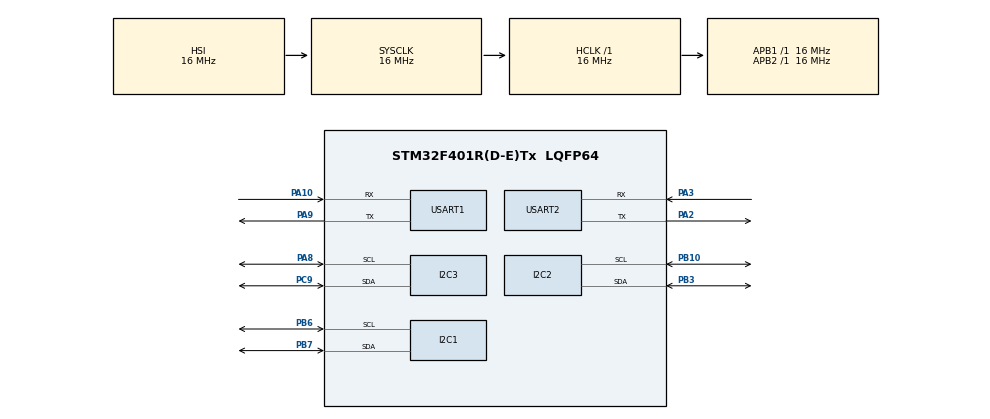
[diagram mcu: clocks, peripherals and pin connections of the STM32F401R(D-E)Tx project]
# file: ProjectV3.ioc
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FREERTOS.BinarySemaphores01=myBinarySem01,Dynamic,NULL,Available;myBinarySem02,Dynamic,NULL,Available
FREERTOS.Queues01=myQueue01,5,uint8_t,0,Dynamic,NULL,NULL;myQueue02,5,uint8_t,0,Dynamic,NULL,NULL;myQueue03,16,uint16_t,0,Dynamic,NULL,NULL;myQueue04,16,uint16_t,0,Dynamic,NULL,NULL
FREERTOS.Tasks01=MeasureTemp,24,512,StartDefaultTask,Default,NULL,Dynamic,NULL,NULL;Realtime,8,256,StartTask02,Default,NULL,Dynamic,NULL,NULL;DisplayTemp,32,256,StartTask03,Default,NULL,Dynamic,NULL,NULL;DisplayTime,16,256,StartTask04,Default,NULL,Dynamic,NULL,NULL;myTask05,8,256,StartTask05,Default,NULL,Dynamic,NULL,NULL;myTask06,8,512,StartTask06,Default,NULL,Dynamic,NULL,NULL;myTask07,48,512,StartTask07,Default,NULL,Dynamic,NULL,NULL
Mcu.Family=STM32F4
Mcu.Name=STM32F401R(D-E)Tx
Mcu.Package=LQFP64
NVIC.PriorityGroup=NVIC_PRIORITYGROUP_4
NVIC.USART1_IRQn=true\:5\:0\:false\:false\:true\:true\:true\:true\:true
NVIC.USART2_IRQn=true\:5\:0\:false\:false\:true\:true\:true\:true\:true
PA10.Mode=Asynchronous
PA10.Signal=USART1_RX
PA13.Mode=Serial_Wire
PA13.Signal=SYS_JTMS-SWDIO
PA14.Mode=Serial_Wire
PA14.Signal=SYS_JTCK-SWCLK
PA2.Mode=Asynchronous
PA2.Signal=USART2_TX
PA3.Mode=Asynchronous
PA3.Signal=USART2_RX
PA8.Mode=I2C
PA8.Signal=I2C3_SCL
PA9.Mode=Asynchronous
PA9.Signal=USART1_TX
PB10.Mode=I2C
PB10.Signal=I2C2_SCL
PB3.Mode=I2C
PB3.Signal=I2C2_SDA
PB6.Mode=I2C
PB6.Signal=I2C1_SCL
PB7.Mode=I2C
PB7.Signal=I2C1_SDA
PC9.Mode=I2C
PC9.Signal=I2C3_SDA
PH0\ -\ OSC_IN.Mode=HSE-External-Oscillator
PH0\ -\ OSC_IN.Signal=RCC_OSC_IN
PH1\ -\ OSC_OUT.Mode=HSE-External-Oscillator
PH1\ -\ OSC_OUT.Signal=RCC_OSC_OUT
ProjectManager.HeapSize=0x200
ProjectManager.StackSize=0x400
ProjectManager.TargetToolchain=STM32CubeIDE
RCC.AHBFreq_Value=16000000
RCC.APB1Freq_Value=16000000
RCC.APB2Freq_Value=16000000
RCC.CortexFreq_Value=16000000
RCC.HSE_VALUE=25000000
RCC.HSI_VALUE=16000000
RCC.LSE_VALUE=32768
RCC.SYSCLKFreq_VALUE=16000000
RCC.VCOOutputFreq_Value=192000000
USART1.VirtualMode=VM_ASYNC
USART2.VirtualMode=VM_ASYNC
VP_FREERTOS_VS_CMSIS_V2.Mode=CMSIS_V2
board=custom

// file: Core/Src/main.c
/* USER CODE BEGIN Header */
/**
  ******************************************************************************
  * @file           : main.c
  * @brief          : Main program body
  ******************************************************************************
  * @attention
  *
  * Copyright (c) 2025 STMicroelectronics.
  * All rights reserved.
  *
  * This software is licensed under terms that can be found in the LICENSE file
  * in the root directory of this software component.
  * If no LICENSE file comes with this software, it is provided AS-IS.
  *
  ******************************************************************************
  */
/* USER CODE END Header */
#include "main.h"
#include "cmsis_os.h"

/* USER CODE BEGIN Includes */
#include "stdio.h"
#include "string.h"
#include "stdlib.h"
#include "math.h"

// The libraries for sensors: DS1307, LCD, SHT21
#include "sht2x_for_stm32_hal.h"
#include "i2c-lcd.h"
#include "I2C_DS3231.h"
#include "print_cli.h"
#include <stdbool.h>
#include <limits.h>

/* USER CODE END Includes */

I2C_HandleTypeDef hi2c1;
I2C_HandleTypeDef hi2c2;
I2C_HandleTypeDef hi2c3;

UART_HandleTypeDef huart1;
UART_HandleTypeDef huart2;

/* Definitions for MeasureTemp */
osThreadId_t MeasureTempHandle;
const osThreadAttr_t MeasureTemp_attributes = {
  .name = "MeasureTemp",
  .stack_size = 512 * 4,
  .priority = (osPriority_t) osPriorityNormal2,
};
/* Definitions for Realtime */
osThreadId_t RealtimeHandle;
const osThreadAttr_t Realtime_attributes = {
  .name = "Realtime",
  .stack_size = 256 * 4,
  .priority = (osPriority_t) osPriorityNormal5,
};
/* Definitions for DisplayTemp */
osThreadId_t DisplayTempHandle;
const osThreadAttr_t DisplayTemp_attributes = {
  .name = "DisplayTemp",
  .stack_size = 256 * 4,
  .priority = (osPriority_t) osPriorityNormal1,
};
/* Definitions for DisplayTime */
osThreadId_t DisplayTimeHandle;
const osThreadAttr_t DisplayTime_attributes = {
  .name = "DisplayTime",
  .stack_size = 256 * 4,
  .priority = (osPriority_t) osPriorityNormal4,
};
/* Definitions for myTask05 */
osThreadId_t myTask05Handle;
const osThreadAttr_t myTask05_attributes = {
  .name = "myTask05",
  .stack_size = 256 * 4,
  .priority = (osPriority_t) osPriorityNormal3,
};
/* Definitions for myTask06 */
osThreadId_t myTask06Handle;
const osThreadAttr_t myTask06_attributes = {
  .name = "myTask06",
  .stack_size = 512 * 4,
  .priority = (osPriority_t) osPriorityNormal,
};
/* Definitions for myTask07 */
osThreadId_t myTask07Handle;
const osThreadAttr_t myTask07_attributes = {
  .name = "myTask07",
  .stack_size = 512 * 4,
  .priority = (osPriority_t) osPriorityRealtime,
};
/* Definitions for myQueue01 */
osMessageQueueId_t myQueue01Handle;
const osMessageQueueAttr_t myQueue01_attributes = {
  .name = "myQueue01"
};
/* Definitions for myQueue02 */
osMessageQueueId_t myQueue02Handle;
const osMessageQueueAttr_t myQueue02_attributes = {
  .name = "myQueue02"
};
/* Definitions for myQueue03 */
osMessageQueueId_t myQueue03Handle;
const osMessageQueueAttr_t myQueue03_attributes = {
  .name = "myQueue03"
};
/* Definitions for myQueue04 */
osMessageQueueId_t myQueue04Handle;
const osMessageQueueAttr_t myQueue04_attributes = {
  .name = "myQueue04"
};
/* Definitions for myBinarySem01 */
osSemaphoreId_t myBinarySem01Handle;
const osSemaphoreAttr_t myBinarySem01_attributes = {
  .name = "myBinarySem01"
};
/* Definitions for myBinarySem02 */
osSemaphoreId_t myBinarySem02Handle;
const osSemaphoreAttr_t myBinarySem02_attributes = {
  .name = "myBinarySem02"
};
/* USER CODE BEGIN PV */
// DS1307, Step 1:
DateTime date_time;
// Task deadlines
TickType_t taskReadTempDeadline;
TickType_t taskReadTimeDeadline;
TickType_t taskDisplayTempDeadline;
TickType_t taskDisplayTimeDeadline;
TickType_t taskReadRhDeadline;
TickType_t taskDisplayRhDeadline;
typedef struct{
	int id;
	int period;
	int execTime;
	int deadline;
	int priotity;
	int allPeriod;
	float wcet;
	bool changed;
} Task;
Task tasks[6] = {
        {0, 2250, 50, 100, 5, 10, 0.0, false},  // Task 1
        {1, 900, 4, 200, 11, 10, 0.0, false}, // Task 2
        {2, 3000, 4, 300, 17, 10, 0.0, false}, // Task 3
        {3, 1000, 4, 400, 23, 10, 0.0, false}, // Task 4
        {4, 1800, 50, 500, 29, 10, 0.0, false}, // Task 5
        {5, 4500, 4, 600, 35, 10, 0.0, false}  // Task 6
    };
Task prev_tasks[6] = {
        {0, 2250, 50, 100, 5, 10, 0.0, false},  // Task 1
        {1, 900, 4, 200, 11, 10, 0.0, false}, // Task 2
        {2, 3000, 4, 300, 17, 10, 0.0, false}, // Task 3
        {3, 1000, 4, 400, 23, 10, 0.0, false}, // Task 4
        {4, 1800, 50, 500, 29, 10, 0.0, false}, // Task 5
        {5, 4500, 4, 600, 35, 10, 0.0, false}  // Task 6
    };
#define MAX_STRING_SIZE 20

#define RX_BUFFER_SIZE 30
uint8_t rx_buffer[RX_BUFFER_SIZE];
char rx_byte;
uint16_t rx_index = 0;
typedef struct {
    char task[MAX_STRING_SIZE];  // Trường chứa chuỗi "task1"
    int values[5];               // Mảng chứa 5 số nguyên
} TaskData;
/* USER CODE END PV */

void SystemClock_Config(void);
static void MX_GPIO_Init(void);
static void MX_I2C1_Init(void);
static void MX_I2C2_Init(void);
static void MX_I2C3_Init(void);
static void MX_USART2_UART_Init(void);
static void MX_USART1_UART_Init(void);
void StartDefaultTask(void *argument);
void StartTask02(void *argument);
void StartTask03(void *argument);
void StartTask04(void *argument);
void StartTask05(void *argument);
void StartTask06(void *argument);
void StartTask07(void *argument);

/* USER CODE BEGIN PFP */
// Hàm phát hiện thay đổi
bool detectChange(Task *current, Task *previous);
void updatePrevious(Task *previous, Task *current);

void update_task_priorities(Task *tasks, int num_tasks);
/* USER CODE END PFP */

int main(void)
{

  /* MCU Configuration--------------------------------------------------------*/

  /* Reset of all peripherals, Initializes the Flash interface and the Systick. */
  HAL_Init();

  /* Configure the system clock */
  SystemClock_Config();

  /* Initialize all configured peripherals */
  MX_GPIO_Init();
  MX_I2C1_Init();
  MX_I2C2_Init();
  MX_I2C3_Init();
  MX_USART2_UART_Init();
  MX_USART1_UART_Init();
  /* USER CODE BEGIN 2 */
  //Init SHT21, set resolution
  SHT2x_Init(&hi2c1);
  SHT2x_SetResolution(RES_14_12);
  print_cli("Inited SHT21 successfully\n");

  //Init LCD, set start time
  rtc_init(&hi2c3);
  date_time.date = 24;
  date_time.day = 5;
  date_time.hour = 17;
  date_time.i2c = 02;
  date_time.min = 45;
  date_time.mon = 1;
  date_time.sec = 12;
  date_time.year = 25;
  rtc_write_time(&date_time);

  //Init lcd
  lcd_init();

  HAL_UART_Receive_IT(&huart1, &rx_byte, 1);
  /* USER CODE END 2 */

  /* Init scheduler */
  osKernelInitialize();

  /* Create the semaphores(s) */
  /* creation of myBinarySem01 */
  myBinarySem01Handle = osSemaphoreNew(1, 1, &myBinarySem01_attributes);

  /* creation of myBinarySem02 */
  myBinarySem02Handle = osSemaphoreNew(1, 1, &myBinarySem02_attributes);

  /* Create the queue(s) */
  /* creation of myQueue01 */
  myQueue01Handle = osMessageQueueNew (5, sizeof(float), &myQueue01_attributes);

  /* creation of myQueue02 */
  myQueue02Handle = osMessageQueueNew (5, sizeof(DateTime), &myQueue02_attributes);

  /* creation of myQueue03 */
  myQueue03Handle = osMessageQueueNew (16, sizeof(float), &myQueue03_attributes);

  /* creation of myQueue04 */
  myQueue04Handle = osMessageQueueNew (16, sizeof(uint8_t) * 15, &myQueue04_attributes);

  /* Create the thread(s) */
  /* creation of MeasureTemp */
  MeasureTempHandle = osThreadNew(StartDefaultTask, NULL, &MeasureTemp_attributes);

  /* creation of Realtime */
  RealtimeHandle = osThreadNew(StartTask02, NULL, &Realtime_attributes);

  /* creation of DisplayTemp */
  DisplayTempHandle = osThreadNew(StartTask03, NULL, &DisplayTemp_attributes);

  /* creation of DisplayTime */
  DisplayTimeHandle = osThreadNew(StartTask04, NULL, &DisplayTime_attributes);

  /* creation of myTask05 */
  myTask05Handle = osThreadNew(StartTask05, NULL, &myTask05_attributes);

  /* creation of myTask06 */
  myTask06Handle = osThreadNew(StartTask06, NULL, &myTask06_attributes);

  /* creation of myTask07 */
  myTask07Handle = osThreadNew(StartTask07, NULL, &myTask07_attributes);

  /* Start scheduler */
  osKernelStart();

  /* We should never get here as control is now taken by the scheduler */

  /* Infinite loop */
  while (1)
  {

  }
}

void SystemClock_Config(void)
{
  RCC_OscInitTypeDef RCC_OscInitStruct = {0};
  RCC_ClkInitTypeDef RCC_ClkInitStruct = {0};

  /** Configure the main internal regulator output voltage
  */
  __HAL_RCC_PWR_CLK_ENABLE();
  __HAL_PWR_VOLTAGESCALING_CONFIG(PWR_REGULATOR_VOLTAGE_SCALE2);

  /** Initializes the RCC Oscillators according to the specified parameters
  * in the RCC_OscInitTypeDef structure.
  */
  RCC_OscInitStruct.OscillatorType = RCC_OSCILLATORTYPE_HSI;
  RCC_OscInitStruct.HSIState = RCC_HSI_ON;
  RCC_OscInitStruct.HSICalibrationValue = RCC_HSICALIBRATION_DEFAULT;
  RCC_OscInitStruct.PLL.PLLState = RCC_PLL_NONE;
  if (HAL_RCC_OscConfig(&RCC_OscInitStruct) != HAL_OK)
  {
    Error_Handler();
  }

  /** Initializes the CPU, AHB and APB buses clocks
  */
  RCC_ClkInitStruct.ClockType = RCC_CLOCKTYPE_HCLK|RCC_CLOCKTYPE_SYSCLK
                              |RCC_CLOCKTYPE_PCLK1|RCC_CLOCKTYPE_PCLK2;
  RCC_ClkInitStruct.SYSCLKSource = RCC_SYSCLKSOURCE_HSI;
  RCC_ClkInitStruct.AHBCLKDivider = RCC_SYSCLK_DIV1;
  RCC_ClkInitStruct.APB1CLKDivider = RCC_HCLK_DIV1;
  RCC_ClkInitStruct.APB2CLKDivider = RCC_HCLK_DIV1;

  if (HAL_RCC_ClockConfig(&RCC_ClkInitStruct, FLASH_LATENCY_0) != HAL_OK)
  {
    Error_Handler();
  }
}

static void MX_I2C1_Init(void)
{

  hi2c1.Instance = I2C1;
  hi2c1.Init.ClockSpeed = 100000;
  hi2c1.Init.DutyCycle = I2C_DUTYCYCLE_2;
  hi2c1.Init.OwnAddress1 = 0;
  hi2c1.Init.AddressingMode = I2C_ADDRESSINGMODE_7BIT;
  hi2c1.Init.DualAddressMode = I2C_DUALADDRESS_DISABLE;
  hi2c1.Init.OwnAddress2 = 0;
  hi2c1.Init.GeneralCallMode = I2C_GENERALCALL_DISABLE;
  hi2c1.Init.NoStretchMode = I2C_NOSTRETCH_DISABLE;
  if (HAL_I2C_Init(&hi2c1) != HAL_OK)
  {
    Error_Handler();
  }

}

static void MX_I2C2_Init(void)
{

  hi2c2.Instance = I2C2;
  hi2c2.Init.ClockSpeed = 100000;
  hi2c2.Init.DutyCycle = I2C_DUTYCYCLE_2;
  hi2c2.Init.OwnAddress1 = 0;
  hi2c2.Init.AddressingMode = I2C_ADDRESSINGMODE_7BIT;
  hi2c2.Init.DualAddressMode = I2C_DUALADDRESS_DISABLE;
  hi2c2.Init.OwnAddress2 = 0;
  hi2c2.Init.GeneralCallMode = I2C_GENERALCALL_DISABLE;
  hi2c2.Init.NoStretchMode = I2C_NOSTRETCH_DISABLE;
  if (HAL_I2C_Init(&hi2c2) != HAL_OK)
  {
    Error_Handler();
  }

}

static void MX_I2C3_Init(void)
{

  hi2c3.Instance = I2C3;
  hi2c3.Init.ClockSpeed = 100000;
  hi2c3.Init.DutyCycle = I2C_DUTYCYCLE_2;
  hi2c3.Init.OwnAddress1 = 0;
  hi2c3.Init.AddressingMode = I2C_ADDRESSINGMODE_7BIT;
  hi2c3.Init.DualAddressMode = I2C_DUALADDRESS_DISABLE;
  hi2c3.Init.OwnAddress2 = 0;
  hi2c3.Init.GeneralCallMode = I2C_GENERALCALL_DISABLE;
  hi2c3.Init.NoStretchMode = I2C_NOSTRETCH_DISABLE;
  if (HAL_I2C_Init(&hi2c3) != HAL_OK)
  {
    Error_Handler();
  }

}

static void MX_USART1_UART_Init(void)
{

  huart1.Instance = USART1;
  huart1.Init.BaudRate = 115200;
  huart1.Init.WordLength = UART_WORDLENGTH_8B;
  huart1.Init.StopBits = UART_STOPBITS_1;
  huart1.Init.Parity = UART_PARITY_NONE;
  huart1.Init.Mode = UART_MODE_TX_RX;
  huart1.Init.HwFlowCtl = UART_HWCONTROL_NONE;
  huart1.Init.OverSampling = UART_OVERSAMPLING_16;
  if (HAL_UART_Init(&huart1) != HAL_OK)
  {
    Error_Handler();
  }

}

static void MX_USART2_UART_Init(void)
{

  huart2.Instance = USART2;
  huart2.Init.BaudRate = 115200;
  huart2.Init.WordLength = UART_WORDLENGTH_8B;
  huart2.Init.StopBits = UART_STOPBITS_1;
  huart2.Init.Parity = UART_PARITY_NONE;
  huart2.Init.Mode = UART_MODE_TX_RX;
  huart2.Init.HwFlowCtl = UART_HWCONTROL_NONE;
  huart2.Init.OverSampling = UART_OVERSAMPLING_16;
  if (HAL_UART_Init(&huart2) != HAL_OK)
  {
    Error_Handler();
  }

}

static void MX_GPIO_Init(void)
{

  /* GPIO Ports Clock Enable */
  __HAL_RCC_GPIOH_CLK_ENABLE();
  __HAL_RCC_GPIOA_CLK_ENABLE();
  __HAL_RCC_GPIOB_CLK_ENABLE();
  __HAL_RCC_GPIOC_CLK_ENABLE();

}

/* USER CODE BEGIN 4 */
void HAL_UART_RxCpltCallback(UART_HandleTypeDef *huart) {
    if (huart->Instance == USART1) {  // Thay USART1 bằng UART của bạn
        if (rx_byte == '\n') {       // Kiểm tra ký tự LF
            rx_buffer[rx_index] = '\0'; // Kết thúc chuỗi
            rx_index = 0;            // Reset index
			osMessageQueuePut(myQueue04Handle, &rx_buffer, 0U, 0U);
        }
         else {
            if (rx_index < RX_BUFFER_SIZE - 1) {
                rx_buffer[rx_index++] = rx_byte; // Lưu byte vào buffer
            }
        }
        // Nhận tiếp byte mới
        HAL_UART_Receive_IT(&huart1, &rx_byte, 1);
    }
}

// Hàm cập nhật mức ưu tiên dựa trên chu kỳ
void update_task_priorities(Task *tasks, int num_tasks) {
    int periods[num_tasks];

    for (int i = 0; i < num_tasks; i++) {
        periods[i] = tasks[i].period;
    }
    for (int i = 0; i < num_tasks; i++) {
        int priority = 0;

        for (int j = 0; j < num_tasks; j++) {
            if (tasks[i].period < tasks[j].period) {
                priority++;
            }
        }
        tasks[i].priotity = 29 - priority;  // Mức ưu tiên từ 29 giảm dần
    }
}

void updatePrevious(Task *previous, Task *current) {
    previous->period = current->period;
    previous->execTime = current->execTime;
    previous->deadline = current->deadline;
    previous->allPeriod = current->allPeriod;
    previous->priotity = current->priotity;
}
bool detectChange(Task *current, Task *previous){
    // So sánh từng trường
    if (current->period != previous->period ||
        current->execTime != previous->execTime ||
        current->deadline != previous->deadline ||
        current->priotity != previous->priotity ||
		current->allPeriod != previous->allPeriod) {
        current->changed = true; // Đánh dấu thay đổi
        return true;             // Có thay đổi
    }
    current->changed = false;    // Không có thay đổi
    return false;
}

/* USER CODE END 4 */

void StartDefaultTask(void *argument)
{
  /* USER CODE BEGIN 5 */
	//The parameters of task
	TickType_t lastWakeTime = osKernelGetTickCount();
	taskReadTempDeadline = lastWakeTime + pdMS_TO_TICKS(tasks[0].deadline);

	float temp;
	float timeInSeconds;
	//union FloatToBytes dataSend;
  /* Infinite loop */
  for(;;)
  {
  timeInSeconds = (float)osKernelGetTickCount() / configTICK_RATE_HZ;

  print_cli("The start time of get temperature task: %.3f\n", timeInSeconds);
  temp = SHT2x_GetTemperature(1);
  //Check deadline
  if (osKernelGetTickCount() > taskReadTempDeadline)
  {
	  print_cli("Task Read Temperature missed deadline\n");
  }
  if (detectChange(&tasks[0], &prev_tasks[0]))
	{
		if(tasks[0].deadline != prev_tasks[0].deadline)
		{
			taskReadTempDeadline += pdMS_TO_TICKS(tasks[0].period)
					- pdMS_TO_TICKS(prev_tasks[0].deadline) + pdMS_TO_TICKS(tasks[0].deadline);
			print_cli("TASK 01 WAS CHANGED DEADLINE\n");
		}
		if(tasks[0].priotity != prev_tasks[0].priotity)
		{
			osThreadSetPriority(MeasureTempHandle, tasks[0].priotity);
			print_cli("TASK 01 WAS CHANGED PRIORITY\n");
		}
		updatePrevious(&prev_tasks[0], &tasks[0]);
	 }else
	 {
		 taskReadTempDeadline += pdMS_TO_TICKS(tasks[0].period);
	 }

  timeInSeconds = (float)osKernelGetTickCount() / configTICK_RATE_HZ;
  print_cli("The end time of get temperature task: %.3f\n", timeInSeconds);
  osMessageQueuePut(myQueue01Handle, &temp, 0U, 0U);
  vTaskDelayUntil(&lastWakeTime, pdMS_TO_TICKS(tasks[0].period));
  }
  /* USER CODE END 5 */
}

void StartTask02(void *argument)
{
  /* USER CODE BEGIN StartTask02 */
	TickType_t lastWakeTime = osKernelGetTickCount();
	taskReadTimeDeadline = lastWakeTime + pdMS_TO_TICKS(tasks[1].deadline);
	DateTime dateTimeSend;
	float timeInSeconds;
  /* Infinite loop */
  for(;;)
  {
	timeInSeconds = (float)osKernelGetTickCount() / configTICK_RATE_HZ;
	print_cli("The start time of get real time task: %.3f\n", timeInSeconds);
	rtc_read_time(&dateTimeSend);

	//Check Deadline
	if (osKernelGetTickCount() > taskReadTimeDeadline)
	{
		print_cli("Task Read Time missed deadline\n");
	}
	if (detectChange(&tasks[1], &prev_tasks[1]))
	{
		// Cập nhật giá trị trước đó
		if(tasks[1].deadline != tasks[1].deadline)
		{
			taskReadTimeDeadline += pdMS_TO_TICKS(tasks[1].period)
							- pdMS_TO_TICKS(prev_tasks[1].deadline) + pdMS_TO_TICKS(tasks[1].deadline);
			print_cli("TASK 2 WAS CHANGED DEADLINE\n");
		}
		if(tasks[1].priotity != tasks[1].priotity)
		{
			osThreadSetPriority(RealtimeHandle, tasks[1].priotity);
			print_cli("TASK 2 WAS CHANGED PRIORITY\n");
		}
		updatePrevious(&prev_tasks[1], &tasks[1]);
	 }else
	 {
		 taskReadTimeDeadline += pdMS_TO_TICKS(tasks[1].period);
	 }
	timeInSeconds = (float)osKernelGetTickCount() / configTICK_RATE_HZ;
	print_cli("The end time of get real time task: %.3f\n", timeInSeconds);
	osMessageQueuePut(myQueue02Handle, &dateTimeSend, 0U, 0U);
	//Delay until next period
	vTaskDelayUntil(&lastWakeTime, pdMS_TO_TICKS(pdMS_TO_TICKS(tasks[1].period)));
  }
  /* USER CODE END StartTask02 */
}

void StartTask03(void *argument)
{
  /* USER CODE BEGIN StartTask03 */
	TickType_t lastWakeTime = osKernelGetTickCount();
	taskDisplayTempDeadline = lastWakeTime + pdMS_TO_TICKS(tasks[2].deadline);
	float tempRecv;
	char temStr[6];
	float timeInSeconds;
  /* Infinite loop */
  for(;;)
  {
	  osMessageQueueGet(myQueue01Handle, &tempRecv, NULL, osWaitForever);
	  timeInSeconds = (float)osKernelGetTickCount() / configTICK_RATE_HZ;
	  print_cli("The start time of display temperature over UART, LCD: %.3f\n", timeInSeconds);
	  sprintf(temStr, "T:%.3f", tempRecv);
	  print_cli("%s", temStr);
	  lcd_put_cur(0, 9);
	  lcd_send_string(&temStr);
	  print_cli("Temperature is: %.2f\n", tempRecv);
	  	// Check deadline
		if (xTaskGetTickCount() > taskDisplayTempDeadline) {
			print_cli("Task Display Temperature missed deadline\n");
		}
		if (detectChange(&tasks[2], &prev_tasks[2]))
		{
			if(tasks[2].deadline != prev_tasks[2].deadline)
			{
				taskDisplayTempDeadline += pdMS_TO_TICKS(tasks[2].period)
									- pdMS_TO_TICKS(prev_tasks[2].deadline) + pdMS_TO_TICKS(tasks[2].deadline);
				print_cli("TASK 3 WAS CHANGED DEADLINE\n");
			}
			if(tasks[2].priotity != prev_tasks[2].priotity)
			{
				osThreadSetPriority(DisplayTempHandle, tasks[2].priotity);
				print_cli("TASK 3 WAS CHANGED PRIOTIRY\n");
			}
			// Cập nhật giá trị trước đó
			updatePrevious(&prev_tasks[2], &tasks[2]);
		 }else
		 {
			 taskDisplayTempDeadline += pdMS_TO_TICKS(tasks[2].period);
		 }
		timeInSeconds = (float)osKernelGetTickCount() / configTICK_RATE_HZ;
		print_cli("The end time of display temperature over UART, LCD: %.3f\n", timeInSeconds);
		// Delay until next period
		vTaskDelayUntil(&lastWakeTime, pdMS_TO_TICKS(tasks[2].period));
  }
  /* USER CODE END StartTask03 */
}

void StartTask04(void *argument)
{
  /* USER CODE BEGIN StartTask04 */
	TickType_t lastWakeTime = osKernelGetTickCount();
	taskDisplayTimeDeadline = lastWakeTime + pdMS_TO_TICKS(tasks[3].deadline);
	DateTime dateTimeRecv;
	char timeStrTime[9];
	char timeStrDay[10];
	float timeInSeconds;
  /* Infinite loop */
  for(;;)
  {
	  osMessageQueueGet(myQueue02Handle, &dateTimeRecv, NULL, osWaitForever);
	  timeInSeconds = (float)osKernelGetTickCount() / configTICK_RATE_HZ;
	  print_cli("The start time of display real time over UART, LCD: %.3f\n", timeInSeconds);
	  sprintf(timeStrTime, "%02d:%02d:%02d", dateTimeRecv.hour, dateTimeRecv.min, dateTimeRecv.sec);
	  sprintf(timeStrDay, "%02d/%02d/20%02d", dateTimeRecv.date, dateTimeRecv.mon, dateTimeRecv.year);
	  lcd_put_cur(0, 0);
	  lcd_send_string(&timeStrTime);
	  print_cli("Current time: %s \nDay: %s\n", timeStrTime, timeStrDay);
	  lcd_put_cur(1, 0);
	  lcd_send_string(&timeStrDay);
	// Check deadline
	if (xTaskGetTickCount() > taskDisplayTimeDeadline) {
		print_cli("Task Display Time missed deadline\n");
	}
	if (detectChange(&tasks[3], &prev_tasks[3]))
	{
		if(tasks[3].deadline != prev_tasks[3].deadline)
		{
			taskDisplayTimeDeadline += pdMS_TO_TICKS(tasks[3].period)
							- pdMS_TO_TICKS(prev_tasks[3].deadline) + pdMS_TO_TICKS(tasks[3].deadline);
			print_cli("TASK 4 WAS CHANGED DEADLINE\n");
		}
		if(tasks[3].priotity != prev_tasks[3].priotity)
		{
			osThreadSetPriority(DisplayTimeHandle, tasks[3].priotity);
			print_cli("TASK 04 WAS CHANGED PRIORITY\n");
		}
		// Cập nhật giá trị trước đó
		updatePrevious(&prev_tasks[3], &tasks[3]);
	 }else
	 {
		 taskDisplayTimeDeadline += pdMS_TO_TICKS(tasks[3].period);
	 }
	timeInSeconds = (float)osKernelGetTickCount() / configTICK_RATE_HZ;
	print_cli("The end time of display real time over UART, LCD: %.3f\n", timeInSeconds);
	// Delay until next period
	vTaskDelayUntil(&lastWakeTime, pdMS_TO_TICKS(tasks[3].period));
  }
  /* USER CODE END StartTask04 */
}

void StartTask05(void *argument)
{
  /* USER CODE BEGIN StartTask05 */
	float rh;
	TickType_t lastWakeTime = osKernelGetTickCount();
	taskReadRhDeadline = lastWakeTime + pdMS_TO_TICKS(tasks[4].deadline);
	float timeInSeconds;
  /* Infinite loop */
  for(;;)
  {
	  timeInSeconds = (float)osKernelGetTickCount() / configTICK_RATE_HZ;
	  print_cli("The start time of get rh task: %.3f\n", timeInSeconds);
	  rh = SHT2x_GetRelativeHumidity(1);
	  if (osKernelGetTickCount() > taskReadRhDeadline)
		  {
			  print_cli("Task Read Temperature missed deadline\n");
		  }
	  if (detectChange(&tasks[4], &prev_tasks[4]))
	{
		  if(tasks[4].deadline != prev_tasks[4].deadline)
		  {
			  taskReadRhDeadline += pdMS_TO_TICKS(tasks[4].period)
			  				- pdMS_TO_TICKS(prev_tasks[4].deadline) + pdMS_TO_TICKS(tasks[4].deadline);
			  print_cli("TASK 05 WAS CHANGED DEADLINE\n");
		  }
		  if(tasks[4].priotity != prev_tasks[4].priotity)
		  {
			  osThreadSetPriority(myTask05Handle, tasks[4].priotity);
			  print_cli("TASK 05 WAS CHANGED PRIORITY\n");
		  }
		  updatePrevious(&prev_tasks[4], &tasks[4]);
	 }else
	 {
		 taskReadRhDeadline += pdMS_TO_TICKS(tasks[4].period);
	 }
	  timeInSeconds = (float)osKernelGetTickCount() / configTICK_RATE_HZ;
	  print_cli("The end time of get rh task: %.3f\n", timeInSeconds);
	  osMessageQueuePut(myQueue03Handle, &rh, 0U, 0U);
	  vTaskDelayUntil(&lastWakeTime, pdMS_TO_TICKS(tasks[4].period));
  }
  /* USER CODE END StartTask05 */
}

void StartTask06(void *argument)
{
  /* USER CODE BEGIN StartTask06 */
	TickType_t lastWakeTime = osKernelGetTickCount();
	taskDisplayRhDeadline = lastWakeTime + pdMS_TO_TICKS(tasks[5].deadline);
	float rhRecv;
	char rhStr[6];
	float timeInSeconds;
  /* Infinite loop */
  for(;;)
  {
	  osMessageQueueGet(myQueue03Handle, &rhRecv, NULL, osWaitForever);
	  timeInSeconds = (float)osKernelGetTickCount() / configTICK_RATE_HZ;
	  print_cli("The start time of display rh over UART, LCD: %.3f\n", timeInSeconds);
	  sprintf(rhStr, "r:%.1f", rhRecv);
	  print_cli("DO AM LA%s\n", rhStr);
	  lcd_put_cur(1, 10);
	  lcd_send_string(&rhStr);
	  // Check deadline
		if (xTaskGetTickCount() > taskDisplayRhDeadline) {
			print_cli("Task Display RH missed deadline\n");
		}
		if (detectChange(&tasks[5], &prev_tasks[5]))
		{
			if(tasks[5].deadline != prev_tasks[5].deadline)
			{
				taskDisplayRhDeadline += pdMS_TO_TICKS(tasks[5].period)
									- pdMS_TO_TICKS(prev_tasks[5].deadline) + pdMS_TO_TICKS(tasks[5].deadline);
				print_cli("TASK 06 WAS CHANGED DEADLINE\n");
			}
			if(tasks[5].priotity != prev_tasks[5].priotity)
			{
				osThreadSetPriority(myTask05Handle, tasks[5].priotity);
				print_cli("TASK 06 WAS CHANGED PRIORITY\n");
			}
			updatePrevious(&prev_tasks[5], &tasks[5]);
		 }else
		 {
			 taskDisplayRhDeadline += pdMS_TO_TICKS(tasks[5].period);
		 }

		timeInSeconds = (float)osKernelGetTickCount() / configTICK_RATE_HZ;
		print_cli("The end time of display rh over UART, LCD: %.3f\n", timeInSeconds);
		// Delay until next period
		vTaskDelayUntil(&lastWakeTime, pdMS_TO_TICKS(tasks[5].period));
  }
  /* USER CODE END StartTask06 */
}

void StartTask07(void *argument)
{
  /* USER CODE BEGIN StartTask07 */
	 uint8_t Recv_ISR[20];
	TaskData taskData;
	int size;
	char m;
	int fieldRecv[12] = {0};
	int field[6] = {0};
	int idx;
	/* Infinite loop */
  for(;;)
  {
	osMessageQueueGet(myQueue04Handle, &Recv_ISR, NULL, osWaitForever);
	print_cli("Nhan tu ngat yeu cau thay doi thong so lap lich\n");
	    for (int i = 0; i < 12; i++) {
	        fieldRecv[i] = Recv_ISR[i] - '0';
	    }
	    for (int j = 0; j < 6; j++) {
	        field[j] = fieldRecv[2 * j] * 10 + fieldRecv[2 * j + 1];
	    }
	idx = field[0];
	print_cli("TASK %d\n", field[0] + 1);
	print_cli("Period is %d\n", field[1]);
	print_cli("EXECUTION TIME is %d\n", field[2]);
	print_cli("DEADLINE is %d\n", field[3]);
	print_cli("AllPERIOD is %d\n", field[4]);
	print_cli("PRIORITY is %d\n", field[5]);
	//print_cli("Thay doi thong so Task %d\n", i+1);
	if(field[1] != 0 && tasks[idx].period != field[1] *100)
	{
		tasks[idx].period = field[1] * 100;
		update_task_priorities(tasks, 6);
		print_cli("TASK %d WAS CHANGED PERIOD\n",idx + 1);
	}
	if(field[2] != 0)
	{
		print_cli("Thay doi thoi gian thuc thi\n");
	}
	if(field[3] != 0 && tasks[idx].deadline != field[3] * 100)
	{
		print_cli("TASK %d WAS CHANGED DEADLINE\n", idx + 1);
		tasks[idx].deadline = field[3] * 100;
	}
	if(field[4] != 0 && tasks[idx].allPeriod != field[4] * 100)
	{
		print_cli("Thay doi chu ky toan bo\n");
		for (int i = 0; i <= 5; i++)
			tasks[i].allPeriod = field[4] * 100;
	}if(field[5] != 0 && field[5] != tasks[idx].priotity)
	{
		print_cli("Muc uu tien phu thuoc vao deadline\n");
		tasks[idx].priotity = field[5];
	}
	for (int i = 0; i <= 5; i++)
		field[i] = 0;
	for (int i = 0; i <= 11; i++)
		fieldRecv[i] = 0;
    osThreadYield();
  }
  /* USER CODE END StartTask07 */
}

void Error_Handler(void)
{
  __disable_irq();
  while (1)
  {
  }
}
